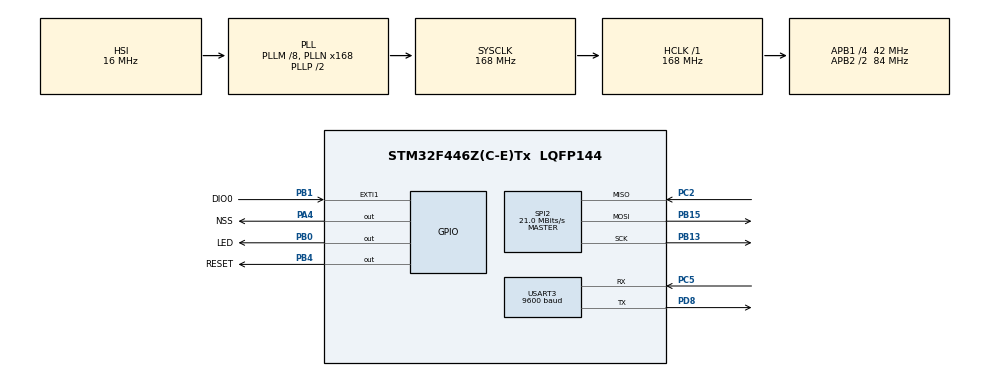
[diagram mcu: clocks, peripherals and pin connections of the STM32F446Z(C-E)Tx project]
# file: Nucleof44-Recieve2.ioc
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Mcu.Family=STM32F4
Mcu.Name=STM32F446Z(C-E)Tx
Mcu.Package=LQFP144
NVIC.EXTI1_IRQn=true\:0\:0\:false\:false\:true\:true\:true\:true
NVIC.PriorityGroup=NVIC_PRIORITYGROUP_4
NVIC.SPI2_IRQn=true\:0\:0\:false\:false\:true\:true\:true\:true
PA13.Mode=Serial_Wire
PA13.Signal=SYS_JTMS-SWDIO
PA14.Mode=Serial_Wire
PA14.Signal=SYS_JTCK-SWCLK
PA4.GPIO_Label=NSS
PA4.PinState=GPIO_PIN_SET
PA4.Signal=GPIO_Output
PB0.GPIO_Label=LED
PB0.Signal=GPIO_Output
PB1.GPIO_Label=DIO0
PB1.Signal=GPXTI1
PB13.Mode=Full_Duplex_Master
PB13.Signal=SPI2_SCK
PB15.Mode=Full_Duplex_Master
PB15.Signal=SPI2_MOSI
PB4.GPIO_Label=RESET
PB4.PinState=GPIO_PIN_SET
PB4.Signal=GPIO_Output
PC14-OSC32_IN.Mode=LSE-External-Oscillator
PC14-OSC32_IN.Signal=RCC_OSC32_IN
PC15-OSC32_OUT.Mode=LSE-External-Oscillator
PC15-OSC32_OUT.Signal=RCC_OSC32_OUT
PC2.Mode=Full_Duplex_Master
PC2.Signal=SPI2_MISO
PC5.Mode=Asynchronous
PC5.Signal=USART3_RX
PD8.Mode=Asynchronous
PD8.Signal=USART3_TX
PH0-OSC_IN.Mode=HSE-External-Clock-Source
PH0-OSC_IN.Signal=RCC_OSC_IN
PH1-OSC_OUT.Mode=HSE-External-Clock-Source
PH1-OSC_OUT.Signal=RCC_OSC_OUT
ProjectManager.HeapSize=0x200
ProjectManager.StackSize=0x400
ProjectManager.TargetToolchain=STM32CubeIDE
RCC.AHBFreq_Value=168000000
RCC.APB1CLKDivider=RCC_HCLK_DIV4
RCC.APB1Freq_Value=42000000
RCC.APB1TimFreq_Value=84000000
RCC.APB2CLKDivider=RCC_HCLK_DIV2
RCC.APB2Freq_Value=84000000
RCC.APB2TimFreq_Value=168000000
RCC.CortexFreq_Value=168000000
RCC.HCLKFreq_Value=168000000
RCC.HSE_VALUE=25000000
RCC.PLLM=8
RCC.PLLN=168
RCC.SYSCLKFreq_VALUE=168000000
RCC.SYSCLKSource=RCC_SYSCLKSOURCE_PLLCLK
RCC.USBFreq_Value=168000000
RCC.VCOOutputFreq_Value=336000000
SPI2.BaudRatePrescaler=SPI_BAUDRATEPRESCALER_2
SPI2.CalculateBaudRate=21.0 MBits/s
SPI2.Direction=SPI_DIRECTION_2LINES
SPI2.Mode=SPI_MODE_MASTER
SPI2.VirtualType=VM_MASTER
USART3.BaudRate=9600
USART3.VirtualMode=VM_ASYNC
USART3.WordLength=WORDLENGTH_8B
VP_RTC_VS_RTC_Activate.Mode=RTC_Enabled
board=custom

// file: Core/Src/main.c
/* USER CODE BEGIN Header */
/**
  ******************************************************************************
  * @file           : main.c
  * @brief          : Main program body
  ******************************************************************************
  * @attention
  *
  * Copyright (c) 2025 STMicroelectronics.
  * All rights reserved.
  *
  * This software is licensed under terms that can be found in the LICENSE file
  * in the root directory of this software component.
  * If no LICENSE file comes with this software, it is provided AS-IS.
  *
  ******************************************************************************
  */
/* USER CODE END Header */
#include "main.h"
#include "rtc.h"
#include "spi.h"
#include "usart.h"
#include "gpio.h"

/* USER CODE BEGIN Includes */
#include "string.h"
#include <stdio.h>
#include "SX1278.h"
/* USER CODE END Includes */

void SystemClock_Config(void);
/* USER CODE BEGIN PFP */
int _write(int file, char *ptr, int len) {
	for (int idx = 0; idx < len; idx++) {
			while(!(USART3 -> SR & USART_SR_TXE));
			USART3->DR = (uint8_t)ptr[idx];
	}
	return len;
}

RTC_TimeTypeDef sTime;
RTC_DateTypeDef sDate;

void get_timestamp_string(char *timestamp_str, uint32_t max_len)
{
  // Get current time and date from RTC
  HAL_RTC_GetTime(&hrtc, &sTime, RTC_FORMAT_BIN);
  HAL_RTC_GetDate(&hrtc, &sDate, RTC_FORMAT_BIN); // This is necessary after HAL_RTC_GetTime

  // Format the timestamp string as "YYYY-MM-DD HH:MM:SS"
  snprintf(timestamp_str, max_len, "%02d:%02d:%02d",
           sTime.Hours, sTime.Minutes, sTime.Seconds);
}
/* USER CODE END PFP */

/* USER CODE BEGIN 0 */
SX1278_hw_t SX1278_hw;
SX1278_t SX1278;

int ret;

char buffer[512];

int message_length;
int counter;
/* USER CODE END 0 */

int main(void)
{

  /* MCU Configuration--------------------------------------------------------*/

  /* Reset of all peripherals, Initializes the Flash interface and the Systick. */
  HAL_Init();

  /* Configure the system clock */
  SystemClock_Config();

  /* Initialize all configured peripherals */
  MX_GPIO_Init();
  MX_USART3_UART_Init();
  MX_SPI2_Init();
  MX_RTC_Init();
  /* USER CODE BEGIN 2 */
    	//initialize LoRa module
    	SX1278_hw.dio0.port = DIO0_GPIO_Port;
    	SX1278_hw.dio0.pin = DIO0_Pin;
    	SX1278_hw.nss.port = NSS_GPIO_Port;
    	SX1278_hw.nss.pin = NSS_Pin;
    	SX1278_hw.reset.port = RESET_GPIO_Port;
    	SX1278_hw.reset.pin = RESET_Pin;
    	SX1278_hw.spi = &hspi2;

    	SX1278.hw = &SX1278_hw;

    	printf("Configuring LoRa module\r\n");
    	SX1278_hw_Reset(SX1278.hw);
    	SX1278_init(&SX1278, 433000000, SX1278_POWER_17DBM, SX1278_LORA_SF_9,
    	SX1278_LORA_BW_125KHZ, SX1278_LORA_CR_4_5, SX1278_LORA_CRC_EN, 250);

//    	printf("Sending package...\r\n");
//			message_length = sprintf(buffer, "Module Ready Start Transmission");
//			ret = SX1278_LoRaEntryTx(&SX1278, message_length, 2000);
//			printf("Entry: %d\r\n", ret);
//			printf("Sending %s\r\n", buffer);
//  			printf("Transmission: %d\r\n", ret);
//			ret = SX1278_LoRaTxPacket(&SX1278, (uint8_t*) buffer,
//					message_length, 2000);
//
//			ret = SX1278_LoRaEntryRx(&SX1278, 18, 2000);
    	printf("Done configuring LoRaModule\r\n");

  /* USER CODE END 2 */

  /* Infinite loop */
  while (1)
  {

    /* USER CODE BEGIN 3 */
	  			ret = SX1278_LoRaRxPacket(&SX1278);
	  			char timestamp[24]; // Buffer for timestamp string

	  			if (ret > 0) {
	  				SX1278_read(&SX1278, (uint8_t*) buffer, ret);
	  				printf("%s\r\n", buffer);
		  			counter++;
	  				get_timestamp_string(timestamp, sizeof(timestamp));
	  				printf("%-8s \r\n", timestamp);
	  				HAL_Delay(800);
		  		  	ret = SX1278_LoRaEntryRx(&SX1278, 18, 2000);
	  			}
  }
  /* USER CODE END 3 */
}

void SystemClock_Config(void)
{
  RCC_OscInitTypeDef RCC_OscInitStruct = {0};
  RCC_ClkInitTypeDef RCC_ClkInitStruct = {0};

  /** Configure the main internal regulator output voltage
  */
  __HAL_RCC_PWR_CLK_ENABLE();
  __HAL_PWR_VOLTAGESCALING_CONFIG(PWR_REGULATOR_VOLTAGE_SCALE1);

  /** Initializes the RCC Oscillators according to the specified parameters
  * in the RCC_OscInitTypeDef structure.
  */
  RCC_OscInitStruct.OscillatorType = RCC_OSCILLATORTYPE_HSI|RCC_OSCILLATORTYPE_LSI;
  RCC_OscInitStruct.LSEState = RCC_LSE_ON;
  RCC_OscInitStruct.HSIState = RCC_HSI_ON;
  RCC_OscInitStruct.HSICalibrationValue = RCC_HSICALIBRATION_DEFAULT;
  RCC_OscInitStruct.LSIState = RCC_LSI_ON;
  RCC_OscInitStruct.PLL.PLLState = RCC_PLL_ON;
  RCC_OscInitStruct.PLL.PLLSource = RCC_PLLSOURCE_HSI;
  RCC_OscInitStruct.PLL.PLLM = 8;
  RCC_OscInitStruct.PLL.PLLN = 168;
  RCC_OscInitStruct.PLL.PLLP = RCC_PLLP_DIV2;
  RCC_OscInitStruct.PLL.PLLQ = 2;
  RCC_OscInitStruct.PLL.PLLR = 2;
  if (HAL_RCC_OscConfig(&RCC_OscInitStruct) != HAL_OK)
  {
    Error_Handler();
  }

  /** Initializes the CPU, AHB and APB buses clocks
  */
  RCC_ClkInitStruct.ClockType = RCC_CLOCKTYPE_HCLK|RCC_CLOCKTYPE_SYSCLK
                              |RCC_CLOCKTYPE_PCLK1|RCC_CLOCKTYPE_PCLK2;
  RCC_ClkInitStruct.SYSCLKSource = RCC_SYSCLKSOURCE_PLLCLK;
  RCC_ClkInitStruct.AHBCLKDivider = RCC_SYSCLK_DIV1;
  RCC_ClkInitStruct.APB1CLKDivider = RCC_HCLK_DIV4;
  RCC_ClkInitStruct.APB2CLKDivider = RCC_HCLK_DIV2;

  if (HAL_RCC_ClockConfig(&RCC_ClkInitStruct, FLASH_LATENCY_5) != HAL_OK)
  {
    Error_Handler();
  }
}

void Error_Handler(void)
{
  __disable_irq();
  while (1)
  {
  }
}
